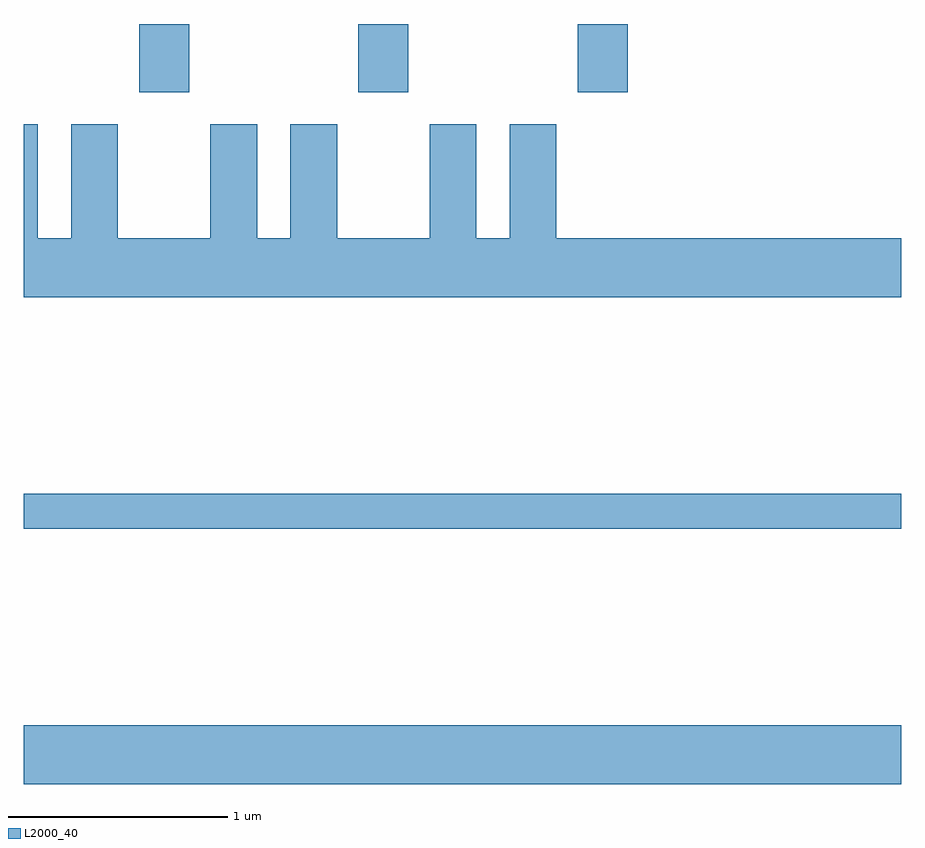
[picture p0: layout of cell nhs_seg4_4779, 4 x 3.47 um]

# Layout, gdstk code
import gdstk
lib = gdstk.Library(unit=1e-6, precision=1e-09)
def R(c, l, rs):  # rectangles x0, y0, x1, y1
    for r in rs: c.add(gdstk.rectangle(r[:2], r[2:], *l))
def A(c, l, x, y, w, h, nx, ny, dx, dy):  # array of equal rectangles
    R(c, l, [(x+i*dx, y+j*dy, x+i*dx+w, y+j*dy+h) for i in range(nx) for j in range(ny)])
def P(c, l, *ps):  # polygons
    for p in ps: c.add(gdstk.Polygon(p, *l))
L2000_40 = (2000, 40)

nhs_seg4_4779 = lib.new_cell('nhs_seg4_4779')
A(nhs_seg4_4779, L2000_40, 326.136, 1295.671, 0.228, 0.311, 3, 1, 1, 0)
R(nhs_seg4_4779, L2000_40, [(325.611,1292.516,329.611,1292.784), (325.611,1293.681,329.611,1293.839)])
P(nhs_seg4_4779, L2000_40, [(329.611,1295.004),(328.039,1295.004),(328.039,1295.524),(327.826,1295.524),(327.826,1295.004),(327.674,1295.004),(327.674,1295.524),(327.461,1295.524),(327.461,1295.004),(327.039,1295.004),(327.039,1295.524),(326.826,1295.524),(326.826,1295.004),(326.674,1295.004),(326.674,1295.524),(326.461,1295.524),(326.461,1295.004),(326.039,1295.004),(326.039,1295.524),(325.826,1295.524),(325.826,1295.004),(325.674,1295.004),(325.674,1295.524),(325.611,1295.524),(325.611,1294.736),(329.611,1294.736)])

lib.write_gds('nhs_seg4_4779.gds')
